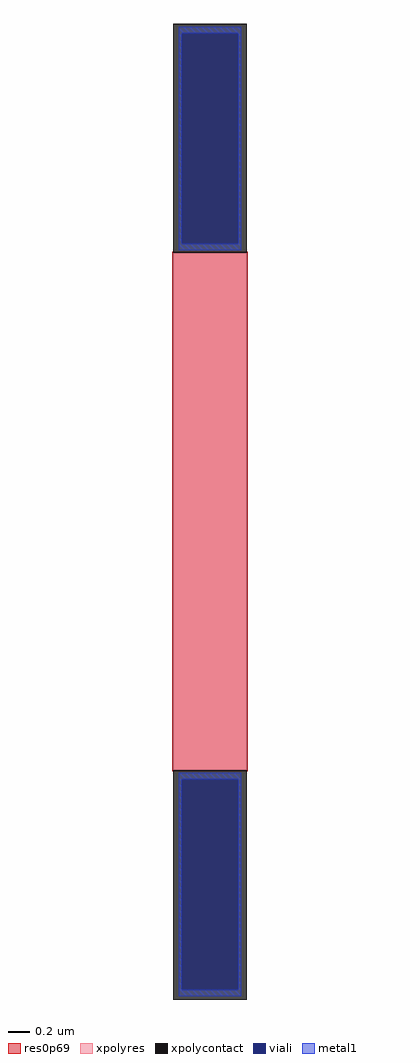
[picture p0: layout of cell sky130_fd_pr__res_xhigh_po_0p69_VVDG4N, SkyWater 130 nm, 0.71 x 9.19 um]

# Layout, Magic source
magic
tech sky130A
magscale 1 2
<< xpolycontact >>
rect -69 487 69 919
rect -69 -919 69 -487
<< xpolyres >>
rect -69 -487 69 487
<< viali >>
rect -53 504 53 901
rect -53 -901 53 -504
<< metal1 >>
rect -59 901 59 913
rect -59 504 -53 901
rect 53 504 59 901
rect -59 492 59 504
rect -59 -504 59 -492
rect -59 -901 -53 -504
rect 53 -901 59 -504
rect -59 -913 59 -901
<< res0p69 >>
rect -71 -489 71 489
<< properties >>
string gencell sky130_fd_pr__res_xhigh_po_0p69
string parameters w 0.690 l 4.87 m 1 nx 1 wmin 0.690 lmin 0.50 rho 2000 val 14.171k dummy 0 dw 0.0 term 19.188 sterm 0.0 caplen 0 wmax 0.690 guard 0 glc 1 grc 1 gtc 1 gbc 1 compatible {sky130_fd_pr__res_xhigh_po_0p35  sky130_fd_pr__res_xhigh_po_0p69 sky130_fd_pr__res_xhigh_po_1p41  sky130_fd_pr__res_xhigh_po_2p85 sky130_fd_pr__res_xhigh_po_5p73} full_metal 1 n_guard 0 hv_guard 0 vias 1 viagb 0 viagt 0 viagl 0 viagr 0
string library sky130
<< end >>
